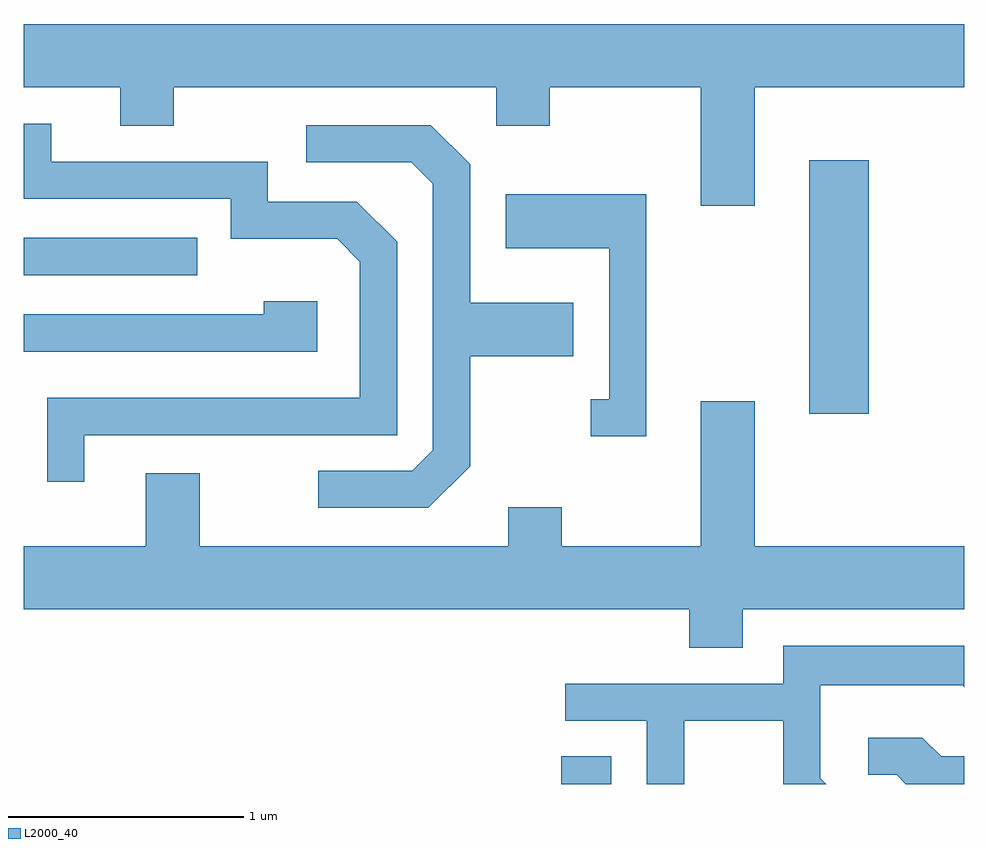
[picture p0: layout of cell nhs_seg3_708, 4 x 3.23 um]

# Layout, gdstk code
import gdstk
lib = gdstk.Library(unit=1e-6, precision=1e-09)
def R(c, l, rs):  # rectangles x0, y0, x1, y1
    for r in rs: c.add(gdstk.rectangle(r[:2], r[2:], *l))
def P(c, l, *ps):  # polygons
    for p in ps: c.add(gdstk.Polygon(p, *l))
L2000_40 = (2000, 40)

nhs_seg3_708 = lib.new_cell('nhs_seg3_708')
R(nhs_seg3_708, L2000_40, [(207.896,1171.892,208.109,1172.009), (208.951,1173.466,209.204,1174.544), (205.611,1174.056,206.348,1174.214)])
P(nhs_seg3_708, L2000_40, [(208.719,1174.856),(209.611,1174.856),(209.611,1175.124),(205.611,1175.124),(205.611,1174.856),(206.021,1174.856),(206.021,1174.691),(206.249,1174.691),(206.249,1174.856),(207.621,1174.856),(207.621,1174.691),(207.849,1174.691),(207.849,1174.856),(208.491,1174.856),(208.491,1174.351),(208.719,1174.351)],
  [(205.869,1173.376),(207.199,1173.376),(207.199,1174.197),(207.027,1174.369),(206.649,1174.369),(206.649,1174.539),(205.729,1174.539),(205.729,1174.699),(205.611,1174.699),(205.611,1174.381),(206.491,1174.381),(206.491,1174.211),(206.944,1174.211),(207.041,1174.114),(207.041,1173.534),(205.711,1173.534),(205.711,1173.178),(205.869,1173.178)],
  [(207.509,1173.244),(207.509,1173.711),(207.949,1173.711),(207.949,1173.939),(207.509,1173.939),(207.509,1174.527),(207.342,1174.694),(206.813,1174.694),(206.813,1174.536),(207.259,1174.536),(207.351,1174.444),(207.351,1173.312),(207.264,1173.224),(206.863,1173.224),(206.863,1173.066),(207.332,1173.066)],
  [(208.259,1174.399),(207.661,1174.399),(207.661,1174.171),(208.101,1174.171),(208.101,1173.529),(208.023,1173.529),(208.023,1173.371),(208.259,1173.371)],
  [(206.859,1173.944),(206.631,1173.944),(206.631,1173.889),(205.611,1173.889),(205.611,1173.731),(206.859,1173.731)],
  [(208.669,1172.636),(209.611,1172.636),(209.611,1172.904),(208.719,1172.904),(208.719,1173.519),(208.491,1173.519),(208.491,1172.904),(207.899,1172.904),(207.899,1173.069),(207.671,1173.069),(207.671,1172.904),(206.359,1172.904),(206.359,1173.214),(206.131,1173.214),(206.131,1172.904),(205.611,1172.904),(205.611,1172.636),(208.441,1172.636),(208.441,1172.471),(208.669,1172.471)],
  [(208.419,1172.161),(208.841,1172.161),(208.841,1171.892),(209.024,1171.892),(208.999,1171.917),(208.999,1172.311),(209.604,1172.311),(209.611,1172.304),(209.611,1172.479),(208.841,1172.479),(208.841,1172.319),(207.913,1172.319),(207.913,1172.161),(208.261,1172.161),(208.261,1171.892),(208.419,1171.892)],
  [(209.611,1172.009),(209.512,1172.009),(209.432,1172.089),(209.203,1172.089),(209.203,1171.931),(209.324,1171.931),(209.363,1171.892),(209.611,1171.892)])

lib.write_gds('nhs_seg3_708.gds')
